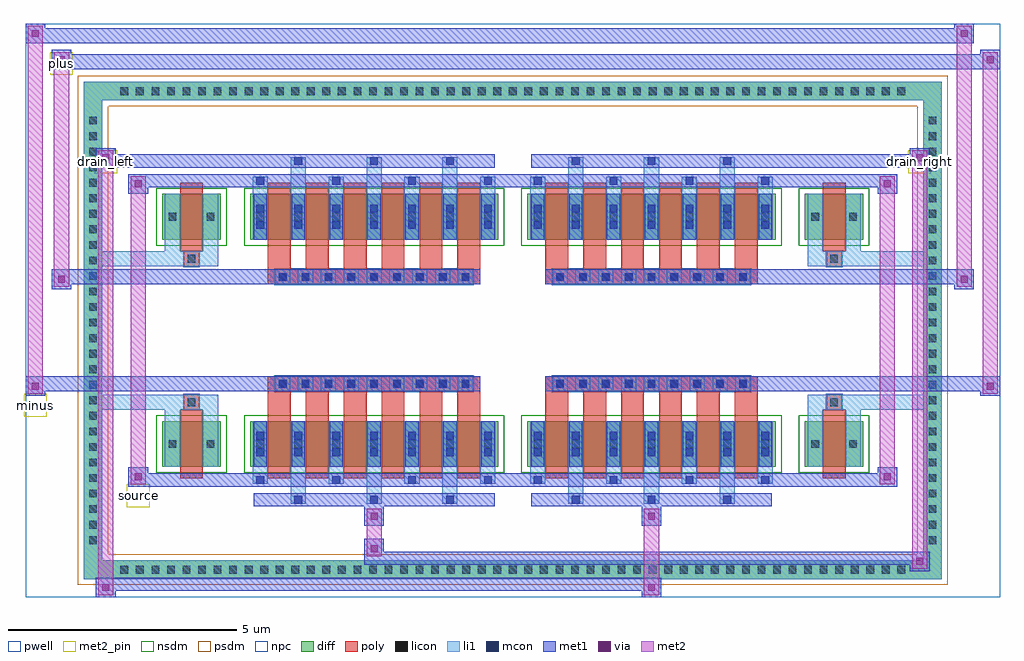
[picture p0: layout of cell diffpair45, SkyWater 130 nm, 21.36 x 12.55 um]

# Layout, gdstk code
import gdstk
lib = gdstk.Library(unit=1e-6, precision=5e-09)
def R(c, l, rs):  # rectangles x0, y0, x1, y1
    for r in rs: c.add(gdstk.rectangle(r[:2], r[2:], *l))
def A(c, l, x, y, w, h, nx, ny, dx, dy):  # array of equal rectangles
    R(c, l, [(x+i*dx, y+j*dy, x+i*dx+w, y+j*dy+h) for i in range(nx) for j in range(ny)])
def P(c, l, *ps):  # polygons
    for p in ps: c.add(gdstk.Polygon(p, *l))
pwell = (64, 44)
diff = (65, 20)
poly = (66, 20)
licon = (66, 44)
li1 = (67, 20)
mcon = (67, 44)
met1 = (68, 20)
via = (68, 44)
met2_pin = (69, 16)
met2 = (69, 20)
nsdm = (93, 44)
psdm = (94, 20)
npc = (95, 20)

diffpair45 = lib.new_cell('diffpair45')
R(diffpair45, pwell, [(-10.66,-5.84,10.66,6.71), (-7.98,-4.03,-0.01,-0.805), (0.01,-4.03,7.98,-0.805), (-7.98,0.805,-0.01,4.03), (0.01,0.805,7.98,4.03)])
A(diffpair45, diff, -8.705, -5.44, 0.41, 0.41, 51, 2, 0.34, 10.47)
A(diffpair45, diff, -9.39, -4.795, 0.41, 0.41, 1, 28, 0, 0.34)
A(diffpair45, diff, 8.98, -4.795, 0.41, 0.41, 1, 28, 0, 0.34)
R(diffpair45, diff, [(-8.705,-5.44,8.705,-5.03), (-9.39,-4.795,-8.98,4.795), (8.98,-4.795,9.39,4.795), (-7.67,-2.985,-6.39,-1.985), (-5.75,-2.985,-0.32,-1.985), (0.32,-2.985,5.75,-1.985), (6.39,-2.985,7.67,-1.985), (-7.67,1.985,-6.39,2.985), (-5.75,1.985,-0.32,2.985), (0.32,1.985,5.75,2.985), (6.39,1.985,7.67,2.985), (-8.705,5.03,8.705,5.44)])
P(diffpair45, diff, [(9.39,5.44),(-9.39,5.44),(-9.39,-5.03),(-8.98,-5.03),(-8.98,5.03),(8.98,5.03),(8.98,-5.03),(-8.98,-5.03),(-9.39,-5.03),(-9.39,-5.44),(9.39,-5.44)])
A(diffpair45, poly, -5.36, -3.235, 0.5, 1.5, 6, 2, 0.83, 4.97)
A(diffpair45, poly, 0.71, -3.235, 0.5, 1.5, 6, 2, 0.83, 4.97)
A(diffpair45, poly, -5.36, -1.735, 0.5, 0.4, 6, 2, 0.83, 3.07)
A(diffpair45, poly, 0.71, -1.735, 0.5, 0.4, 6, 2, 0.83, 3.07)
A(diffpair45, poly, -5.2, -1.335, 0.33, 0.33, 9, 2, 0.5, 2.34)
A(diffpair45, poly, 0.87, -1.335, 0.33, 0.33, 9, 2, 0.5, 2.34)
R(diffpair45, poly, [(-7.28,-3.235,-6.78,-1.735), (6.78,-3.235,7.28,-1.735), (-7.195,-1.735,-6.865,-1.405), (-7.195,-1.735,-6.865,-1.405), (6.865,-1.735,7.195,-1.405), (6.865,-1.735,7.195,-1.405), (-5.36,-1.335,-0.71,-1.005), (0.71,-1.335,5.36,-1.005), (-5.36,1.005,-0.71,1.335), (0.71,1.005,5.36,1.335), (-7.195,1.405,-6.865,1.735), (-7.195,1.405,-6.865,1.735), (6.865,1.405,7.195,1.735), (6.865,1.405,7.195,1.735), (-7.28,1.735,-6.78,3.235), (6.78,1.735,7.28,3.235)])
A(diffpair45, licon, -8.585, -5.32, 0.17, 0.17, 51, 2, 0.34, 10.47)
A(diffpair45, licon, -9.27, -4.675, 0.17, 0.17, 1, 28, 0, 0.34)
A(diffpair45, licon, 9.1, -4.675, 0.17, 0.17, 1, 28, 0, 0.34)
A(diffpair45, licon, -5.61, -2.57, 0.17, 0.17, 7, 2, 0.83, 4.97)
A(diffpair45, licon, 0.46, -2.57, 0.17, 0.17, 7, 2, 0.83, 4.97)
A(diffpair45, licon, -5.12, -1.255, 0.17, 0.17, 9, 2, 0.5, 2.34)
A(diffpair45, licon, 0.95, -1.255, 0.17, 0.17, 9, 2, 0.5, 2.34)
R(diffpair45, licon, [(-7.53,-2.57,-7.36,-2.4), (-6.7,-2.57,-6.53,-2.4), (6.53,-2.57,6.7,-2.4), (7.36,-2.57,7.53,-2.4), (-7.115,-1.655,-6.945,-1.485), (6.945,-1.655,7.115,-1.485), (-7.115,1.485,-6.945,1.655), (6.945,1.485,7.115,1.655), (-7.53,2.4,-7.36,2.57), (-6.7,2.4,-6.53,2.57), (6.53,2.4,6.7,2.57), (7.36,2.4,7.53,2.57)])
A(diffpair45, li1, -8.665, -5.4, 0.33, 0.33, 51, 2, 0.34, 10.47)
A(diffpair45, li1, -9.35, -4.755, 0.33, 0.33, 1, 28, 0, 0.34)
A(diffpair45, li1, 9.02, -4.755, 0.33, 0.33, 1, 28, 0, 0.34)
A(diffpair45, li1, -4.86, -3.79, 0.33, 0.805, 3, 2, 1.66, 6.775)
A(diffpair45, li1, -4.78, -3.79, 0.17, 0.17, 3, 2, 1.66, 7.41)
A(diffpair45, li1, 1.21, -3.79, 0.33, 0.805, 3, 2, 1.66, 6.775)
A(diffpair45, li1, 1.29, -3.79, 0.17, 0.17, 3, 2, 1.66, 7.41)
A(diffpair45, li1, -5.69, -3.36, 0.33, 0.375, 4, 2, 1.66, 6.345)
A(diffpair45, li1, -5.61, -3.36, 0.17, 0.17, 4, 2, 1.66, 6.55)
A(diffpair45, li1, 0.38, -3.36, 0.33, 0.375, 4, 2, 1.66, 6.345)
A(diffpair45, li1, 0.46, -3.36, 0.17, 0.17, 4, 2, 1.66, 6.55)
A(diffpair45, li1, -5.69, -2.985, 0.33, 1, 7, 2, 0.83, 4.97)
A(diffpair45, li1, 0.38, -2.985, 0.33, 1, 7, 2, 0.83, 4.97)
A(diffpair45, li1, -5.61, -2.75, 0.17, 0.17, 7, 2, 0.83, 0.36)
A(diffpair45, li1, -5.61, -2.75, 0.17, 0.53, 7, 2, 0.83, 4.97)
A(diffpair45, li1, 0.46, -2.75, 0.17, 0.17, 7, 2, 0.83, 0.36)
A(diffpair45, li1, 0.46, -2.75, 0.17, 0.53, 7, 2, 0.83, 4.97)
A(diffpair45, li1, -5.69, -2.65, 0.33, 0.33, 7, 2, 0.83, 4.97)
A(diffpair45, li1, 0.38, -2.65, 0.33, 0.33, 7, 2, 0.83, 4.97)
A(diffpair45, li1, -5.2, -1.335, 0.33, 0.33, 9, 2, 0.5, 2.34)
A(diffpair45, li1, 0.87, -1.335, 0.33, 0.33, 9, 2, 0.5, 2.34)
A(diffpair45, li1, -5.61, 2.22, 0.17, 0.17, 7, 2, 0.83, 0.36)
A(diffpair45, li1, 0.46, 2.22, 0.17, 0.17, 7, 2, 0.83, 0.36)
R(diffpair45, li1, [(-9.39,-5.44,-8.98,-5.03), (-9.39,-5.44,-8.98,-5.03), (-8.98,-5.44,8.98,-5.03), (8.98,-5.44,9.39,-5.03), (8.98,-5.44,9.39,-5.03), (-9.39,-5.03,-8.98,5.03), (8.98,-5.03,9.39,5.03), (-7.61,-2.985,-7.28,-1.985), (-6.78,-2.985,-6.45,-1.985), (6.45,-2.985,6.78,-1.985), (7.28,-2.985,7.61,-1.985), (-7.61,-2.65,-7.28,-2.32), (-6.78,-2.65,-6.45,-2.32), (6.45,-2.65,6.78,-2.32), (7.28,-2.65,7.61,-2.32), (-7.61,-1.985,-7.28,-1.405), (-6.78,-1.985,-6.45,-1.405), (6.45,-1.985,6.78,-1.405), (7.28,-1.985,7.61,-1.405), (-9.39,-1.735,-7.195,-1.405), (-7.61,-1.735,-7.195,-1.405), (-7.195,-1.735,-6.865,-1.405), (-6.865,-1.735,-6.45,-1.405), (6.45,-1.735,6.865,-1.405), (6.865,-1.735,7.195,-1.405), (6.865,-1.735,9.39,-1.405), (7.195,-1.735,7.61,-1.405), (-9.39,1.405,-7.195,1.735), (-7.61,1.405,-7.195,1.735), (-7.61,1.405,-7.28,1.985), (-7.195,1.405,-6.865,1.735), (-6.865,1.405,-6.45,1.735), (-6.78,1.405,-6.45,1.985), (6.45,1.405,6.865,1.735), (6.45,1.405,6.78,1.985), (6.865,1.405,7.195,1.735), (6.865,1.405,9.39,1.735), (7.195,1.405,7.61,1.735), (7.28,1.405,7.61,1.985), (-7.61,1.985,-7.28,2.985), (-6.78,1.985,-6.45,2.985), (6.45,1.985,6.78,2.985), (7.28,1.985,7.61,2.985), (-7.61,2.32,-7.28,2.65), (-6.78,2.32,-6.45,2.65), (6.45,2.32,6.78,2.65), (7.28,2.32,7.61,2.65), (-9.39,5.03,-8.98,5.44), (-9.39,5.03,-8.98,5.44), (-8.98,5.03,8.98,5.44), (8.98,5.03,9.39,5.44), (8.98,5.03,9.39,5.44)])
A(diffpair45, mcon, -4.78, -3.79, 0.17, 0.17, 3, 2, 1.66, 7.41)
A(diffpair45, mcon, 1.29, -3.79, 0.17, 0.17, 3, 2, 1.66, 7.41)
A(diffpair45, mcon, -5.61, -3.36, 0.17, 0.17, 4, 2, 1.66, 6.55)
A(diffpair45, mcon, 0.46, -3.36, 0.17, 0.17, 4, 2, 1.66, 6.55)
A(diffpair45, mcon, -5.61, -2.75, 0.17, 0.17, 7, 2, 0.83, 0.36)
A(diffpair45, mcon, 0.46, -2.75, 0.17, 0.17, 7, 2, 0.83, 0.36)
A(diffpair45, mcon, -5.12, -1.255, 0.17, 0.17, 9, 2, 0.5, 2.34)
A(diffpair45, mcon, 0.95, -1.255, 0.17, 0.17, 9, 2, 0.5, 2.34)
A(diffpair45, mcon, -5.61, 2.22, 0.17, 0.17, 7, 2, 0.83, 0.36)
A(diffpair45, mcon, 0.46, 2.22, 0.17, 0.17, 7, 2, 0.83, 0.36)
A(diffpair45, met1, -4.84, -3.85, 0.29, 0.29, 3, 2, 1.66, 7.41)
A(diffpair45, met1, 1.23, -3.85, 0.29, 0.29, 3, 2, 1.66, 7.41)
A(diffpair45, met1, -5.67, -3.42, 0.29, 0.29, 4, 2, 1.66, 6.55)
A(diffpair45, met1, 0.4, -3.42, 0.29, 0.29, 4, 2, 1.66, 6.55)
A(diffpair45, met1, -5.67, -2.985, 0.29, 1, 7, 2, 0.83, 4.97)
A(diffpair45, met1, 0.4, -2.985, 0.29, 1, 7, 2, 0.83, 4.97)
A(diffpair45, met1, -5.67, -2.81, 0.29, 0.29, 7, 2, 0.83, 0.36)
A(diffpair45, met1, 0.4, -2.81, 0.29, 0.29, 7, 2, 0.83, 0.36)
A(diffpair45, met1, -5.18, -1.315, 0.29, 0.29, 9, 2, 0.5, 2.34)
A(diffpair45, met1, 0.89, -1.315, 0.29, 0.29, 9, 2, 0.5, 2.34)
A(diffpair45, met1, -5.67, 2.16, 0.29, 0.29, 7, 2, 0.83, 0.36)
A(diffpair45, met1, 0.4, 2.16, 0.29, 0.29, 7, 2, 0.83, 0.36)
R(diffpair45, met1, [(-9.12,-5.84,-8.69,-5.41), (2.82,-5.84,3.25,-5.41), (-9.12,-5.7,3.25,-5.41), (8.69,-5.27,9.12,-4.84), (-3.25,-5.13,9.12,-4.84), (-3.25,-4.99,-2.82,-4.56), (-3.25,-4.28,-2.82,-3.85), (2.82,-4.28,3.25,-3.85), (-5.67,-3.85,-0.4,-3.56), (0.4,-3.85,5.67,-3.56), (-8.41,-3.42,-7.98,-2.99), (-8.41,-3.42,-5.67,-3.13), (-5.67,-3.42,-0.4,-3.13), (-0.4,-3.42,0.4,-3.13), (0.4,-3.42,5.67,-3.13), (5.67,-3.42,8.41,-3.13), (7.98,-3.42,8.41,-2.99), (-10.66,-1.435,-10.23,-1.005), (10.23,-1.435,10.66,-1.005), (-10.66,-1.335,-0.71,-1.005), (-5.36,-1.335,-0.71,-1.005), (0.71,-1.335,5.36,-1.005), (0.71,-1.335,10.66,-1.005), (-10.09,0.905,-9.66,1.335), (9.66,0.905,10.09,1.335), (-10.09,1.005,-5.36,1.335), (-5.36,1.005,-0.71,1.335), (0.71,1.005,5.36,1.335), (5.36,1.005,10.09,1.335), (-8.41,2.99,-7.98,3.42), (7.98,2.99,8.41,3.42), (-8.41,3.13,-5.67,3.42), (-5.67,3.13,-0.4,3.42), (-0.4,3.13,0.4,3.42), (0.4,3.13,5.67,3.42), (5.67,3.13,8.41,3.42), (-9.12,3.56,-8.69,3.99), (-9.12,3.56,-5.67,3.85), (-5.67,3.56,-0.4,3.85), (0.4,3.56,5.67,3.85), (5.67,3.56,9.12,3.85), (8.69,3.56,9.12,3.99), (-10.09,5.71,-9.66,6.14), (-10.09,5.71,-7.98,6.04), (-7.98,5.71,7.98,6.04), (7.98,5.71,10.66,6.04), (10.23,5.71,10.66,6.14), (-10.66,6.28,-10.23,6.71), (-10.66,6.28,-7.98,6.61), (-7.98,6.28,7.98,6.61), (7.98,6.28,10.09,6.61), (9.66,6.28,10.09,6.71)])
R(diffpair45, via, [(-8.98,-5.7,-8.83,-5.55), (2.96,-5.7,3.11,-5.55), (8.83,-5.13,8.98,-4.98), (-3.11,-4.85,-2.96,-4.7), (-3.11,-4.14,-2.96,-3.99), (2.96,-4.14,3.11,-3.99), (-8.27,-3.28,-8.12,-3.13), (8.12,-3.28,8.27,-3.13), (-10.52,-1.295,-10.37,-1.145), (10.37,-1.295,10.52,-1.145), (-9.95,1.045,-9.8,1.195), (9.8,1.045,9.95,1.195), (-8.27,3.13,-8.12,3.28), (8.12,3.13,8.27,3.28), (-8.98,3.7,-8.83,3.85), (8.83,3.7,8.98,3.85), (-9.95,5.85,-9.8,6), (10.37,5.85,10.52,6), (-10.52,6.42,-10.37,6.57), (9.8,6.42,9.95,6.57)])
R(diffpair45, met2_pin, [(-8.445,-3.87,-7.945,-3.37), (-10.695,-1.885,-10.195,-1.385), (-9.155,3.44,-8.655,3.94), (8.655,3.44,9.155,3.94), (-10.125,5.59,-9.625,6.09)])
R(diffpair45, met2, [(-9.07,-5.79,-8.74,-5.46), (-9.07,-5.79,-8.74,3.94), (2.87,-5.79,3.2,-5.46), (2.87,-5.46,3.2,-4.23), (8.74,-5.22,9.07,-4.89), (8.74,-5.22,9.07,3.94), (-3.2,-4.94,-2.87,-4.61), (-3.2,-4.61,-2.87,-4.23), (-3.2,-4.23,-2.87,-3.9), (2.87,-4.23,3.2,-3.9), (-8.36,-3.37,-8.03,-3.04), (-8.36,-3.37,-8.03,3.37), (8.03,-3.37,8.36,-3.04), (8.03,-3.37,8.36,3.37), (-10.61,-1.385,-10.28,-1.055), (-10.61,-1.385,-10.28,6.66), (10.28,-1.385,10.61,-1.055), (10.28,-1.385,10.61,6.09), (-10.04,0.955,-9.71,1.285), (-10.04,0.955,-9.71,6.09), (9.71,0.955,10.04,1.285), (9.71,0.955,10.04,6.66), (-8.36,3.04,-8.03,3.37), (8.03,3.04,8.36,3.37), (-9.07,3.61,-8.74,3.94), (8.74,3.61,9.07,3.94), (-10.04,5.76,-9.71,6.09), (10.28,5.76,10.61,6.09), (-10.61,6.33,-10.28,6.66), (9.71,6.33,10.04,6.66)])
P(diffpair45, met2, [(10.61,-1.385),(10.61,-1.385),(10.61,-1.055),(10.61,-1.055)],
  [(10.61,5.76),(10.61,5.76),(10.61,6.09),(10.61,6.09)],
  [(-10.28,-1.385),(-10.28,-1.385),(-10.28,-1.055),(-10.28,-1.055)],
  [(-10.28,6.33),(-10.28,6.33),(-10.28,6.66),(-10.28,6.66)],
  [(10.04,0.955),(10.04,0.955),(10.04,1.285),(10.04,1.285)],
  [(10.04,6.33),(10.04,6.33),(10.04,6.66),(10.04,6.66)],
  [(-9.71,0.955),(-9.71,0.955),(-9.71,1.285),(-9.71,1.285)],
  [(-9.71,5.76),(-9.71,5.76),(-9.71,6.09),(-9.71,6.09)],
  [(-8.74,-5.79),(-8.74,-5.79),(-8.74,-5.46),(-8.74,-5.46)],
  [(-8.74,3.61),(-8.74,3.61),(-8.74,3.94),(-8.74,3.94)],
  [(9.07,-5.22),(9.07,-5.22),(9.07,-4.89),(9.07,-4.89)],
  [(9.07,3.61),(9.07,3.61),(9.07,3.94),(9.07,3.94)],
  [(-8.03,-3.37),(-8.03,-3.37),(-8.03,-3.04),(-8.03,-3.04)],
  [(-8.03,3.04),(-8.03,3.04),(-8.03,3.37),(-8.03,3.37)],
  [(8.36,-3.37),(8.36,-3.37),(8.36,-3.04),(8.36,-3.04)],
  [(8.36,3.04),(8.36,3.04),(8.36,3.37),(8.36,3.37)])
R(diffpair45, nsdm, [(-7.8,-3.115,-6.26,-1.855), (-5.88,-3.115,-0.19,-1.855), (0.19,-3.115,5.88,-1.855), (6.26,-3.115,7.8,-1.855), (-7.8,1.855,-6.26,3.115), (-5.88,1.855,-0.19,3.115), (0.19,1.855,5.88,3.115), (6.26,1.855,7.8,3.115)])
P(diffpair45, psdm, [(9.52,5.57),(-9.52,5.57),(-9.52,-4.9),(-8.85,-4.9),(-8.85,4.9),(8.85,4.9),(8.85,-4.9),(-8.85,-4.9),(-9.52,-4.9),(-9.52,-5.57),(9.52,-5.57)])
A(diffpair45, npc, -5.22, -1.355, 0.37, 0.37, 9, 2, 0.5, 2.34)
A(diffpair45, npc, 0.85, -1.355, 0.37, 0.37, 9, 2, 0.5, 2.34)
R(diffpair45, npc, [(-7.215,-1.755,-6.845,-1.385), (6.845,-1.755,7.215,-1.385), (-5.22,-1.355,-4.35,-0.985), (-5.22,-1.355,-4.35,-0.985), (-4.72,-1.355,-3.85,-0.985), (-4.72,-1.355,-3.85,-0.985), (-4.22,-1.355,-3.35,-0.985), (-4.22,-1.355,-3.35,-0.985), (-3.72,-1.355,-2.85,-0.985), (-3.72,-1.355,-2.85,-0.985), (-3.22,-1.355,-2.35,-0.985), (-3.22,-1.355,-2.35,-0.985), (-2.72,-1.355,-1.85,-0.985), (-2.72,-1.355,-1.85,-0.985), (-2.22,-1.355,-1.35,-0.985), (-2.22,-1.355,-1.35,-0.985), (-1.72,-1.355,-0.85,-0.985), (-1.72,-1.355,-0.85,-0.985), (0.85,-1.355,1.72,-0.985), (0.85,-1.355,1.72,-0.985), (1.35,-1.355,2.22,-0.985), (1.35,-1.355,2.22,-0.985), (1.85,-1.355,2.72,-0.985), (1.85,-1.355,2.72,-0.985), (2.35,-1.355,3.22,-0.985), (2.35,-1.355,3.22,-0.985), (2.85,-1.355,3.72,-0.985), (2.85,-1.355,3.72,-0.985), (3.35,-1.355,4.22,-0.985), (3.35,-1.355,4.22,-0.985), (3.85,-1.355,4.72,-0.985), (3.85,-1.355,4.72,-0.985), (4.35,-1.355,5.22,-0.985), (4.35,-1.355,5.22,-0.985), (-5.22,0.985,-4.35,1.355), (-5.22,0.985,-4.35,1.355), (-4.72,0.985,-3.85,1.355), (-4.72,0.985,-3.85,1.355), (-4.22,0.985,-3.35,1.355), (-4.22,0.985,-3.35,1.355), (-3.72,0.985,-2.85,1.355), (-3.72,0.985,-2.85,1.355), (-3.22,0.985,-2.35,1.355), (-3.22,0.985,-2.35,1.355), (-2.72,0.985,-1.85,1.355), (-2.72,0.985,-1.85,1.355), (-2.22,0.985,-1.35,1.355), (-2.22,0.985,-1.35,1.355), (-1.72,0.985,-0.85,1.355), (-1.72,0.985,-0.85,1.355), (0.85,0.985,1.72,1.355), (0.85,0.985,1.72,1.355), (1.35,0.985,2.22,1.355), (1.35,0.985,2.22,1.355), (1.85,0.985,2.72,1.355), (1.85,0.985,2.72,1.355), (2.35,0.985,3.22,1.355), (2.35,0.985,3.22,1.355), (2.85,0.985,3.72,1.355), (2.85,0.985,3.72,1.355), (3.35,0.985,4.22,1.355), (3.35,0.985,4.22,1.355), (3.85,0.985,4.72,1.355), (3.85,0.985,4.72,1.355), (4.35,0.985,5.22,1.355), (4.35,0.985,5.22,1.355), (-7.215,1.385,-6.845,1.755), (6.845,1.385,7.215,1.755)])
diffpair45.add(gdstk.Label('minus', (-10.445,-1.635), layer=69, texttype=5))
diffpair45.add(gdstk.Label('drain_right', (8.905,3.69), layer=69, texttype=5))
diffpair45.add(gdstk.Label('drain_left', (-8.905,3.69), layer=69, texttype=5))
diffpair45.add(gdstk.Label('source', (-8.195,-3.62), layer=69, texttype=5))
diffpair45.add(gdstk.Label('plus', (-9.875,5.84), layer=69, texttype=5))

lib.write_gds('diffpair45.gds')
